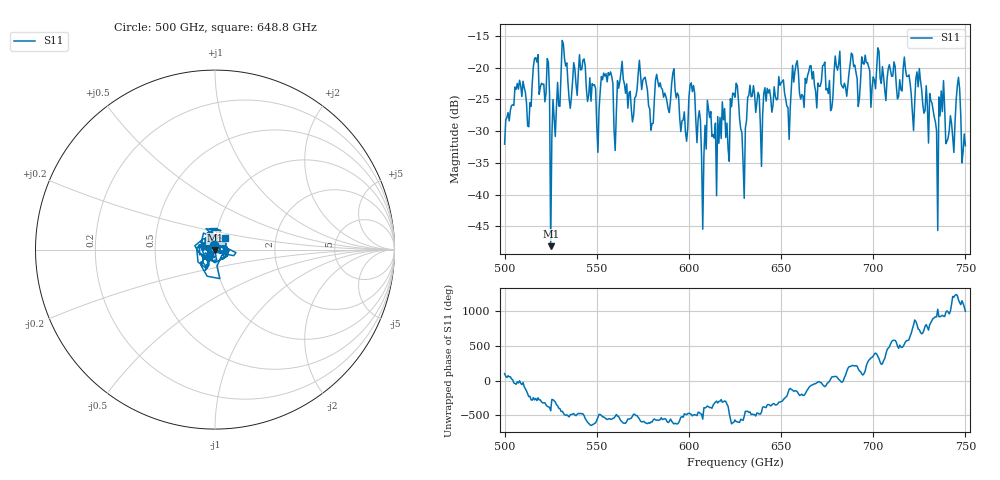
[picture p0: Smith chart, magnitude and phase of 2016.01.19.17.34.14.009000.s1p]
!Created with skrf (http://scikit-rf.org).
# GHz S RI R 50.0
!freq ReS11 ImS11
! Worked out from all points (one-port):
!   401 points, 500 GHz to 750 GHz, reference 50 ohm
!   lowest |S11| = -48.1 dB at 525 GHz (marker M1), VSWR 1.01, Z = 50.1 - j0.376 ohm
!   |S11| at or under -10 dB: start of sweep to end of sweep
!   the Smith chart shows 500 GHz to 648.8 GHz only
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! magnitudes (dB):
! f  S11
! 500 GHz  -32.0
! 506.9 GHz  -22.5
! 513.1 GHz  -29.3
! 516.9 GHz  -18.4
! 523.1 GHz  -18.6
! 525 GHz  -48.1
! 526.2 GHz  -25.0
! 531.2 GHz  -15.7
! 550.6 GHz  -33.3
! 560.6 GHz  -27.1
! 562.5 GHz  -22.2
! 593.8 GHz  -24.0
! 598.1 GHz  -30.1
! 601.9 GHz  -23.8
! 608.1 GHz  -33.9
! 610.6 GHz  -26.5
! 620.6 GHz  -28.7
! 625 GHz  -24.7
! 629.4 GHz  -34.9
! 633.8 GHz  -24.6
! 656.2 GHz  -19.6
! 687.5 GHz  -19.4
! 718.8 GHz  -21.4
! 733.8 GHz  -28.6
! 736.9 GHz  -23.7
! 740.6 GHz  -31.1
! 746.2 GHz  -21.5
! 750 GHz  -32.3
